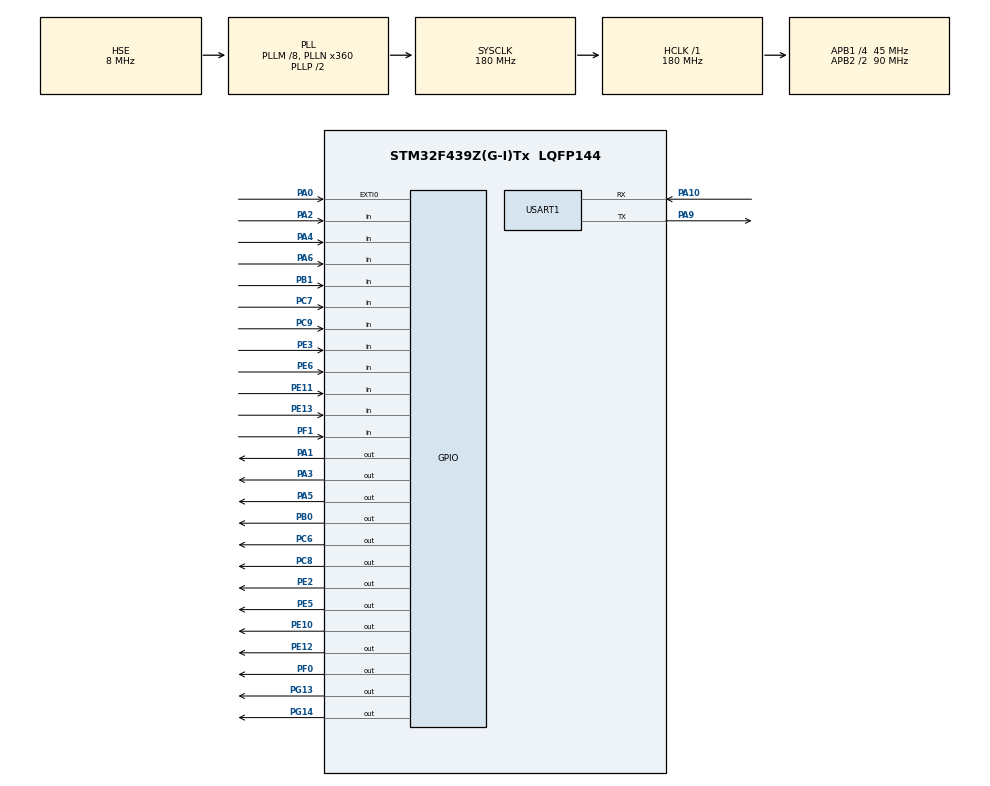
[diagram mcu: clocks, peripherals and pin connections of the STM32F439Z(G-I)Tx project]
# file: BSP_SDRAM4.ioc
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FREERTOS.Tasks01=defaultTask,40,128,StartDefaultTask,Default,NULL,Dynamic,NULL,NULL;myTask02,8,128,StartTask02,Default,NULL,Dynamic,NULL,NULL;myTask03,41,128,StartTask03,Default,NULL,Dynamic,NULL,NULL
FREERTOS.configUSE_NEWLIB_REENTRANT=1
Mcu.Family=STM32F4
Mcu.Name=STM32F439Z(G-I)Tx
Mcu.Package=LQFP144
NVIC.EXTI0_IRQn=true\:5\:0\:false\:false\:true\:true\:true\:true
NVIC.PriorityGroup=NVIC_PRIORITYGROUP_4
NVIC.TIM2_IRQn=true\:5\:0\:false\:false\:true\:true\:true\:true
NVIC.TIM3_IRQn=true\:5\:0\:false\:false\:true\:true\:true\:true
NVIC.TIM6_DAC_IRQn=true\:15\:0\:false\:false\:true\:false\:false\:true
NVIC.TimeBase=TIM6_DAC_IRQn
NVIC.TimeBaseIP=TIM6
PA0/WKUP.Signal=GPXTI0
PA1.Signal=GPIO_Output
PA10.Mode=Asynchronous
PA10.Signal=USART1_RX
PA2.Signal=GPIO_Input
PA3.Signal=GPIO_Output
PA4.Signal=GPIO_Input
PA5.Signal=GPIO_Output
PA6.Signal=GPIO_Input
PA9.Mode=Asynchronous
PA9.Signal=USART1_TX
PB0.Signal=GPIO_Output
PB1.Signal=GPIO_Input
PC6.Signal=GPIO_Output
PC7.Signal=GPIO_Input
PC8.Signal=GPIO_Output
PC9.Signal=GPIO_Input
PE10.Signal=GPIO_Output
PE11.Signal=GPIO_Input
PE12.Signal=GPIO_Output
PE13.Signal=GPIO_Input
PE2.Signal=GPIO_Output
PE3.Signal=GPIO_Input
PE5.Signal=GPIO_Output
PE6.Signal=GPIO_Input
PF0.Signal=GPIO_Output
PF1.Signal=GPIO_Input
PG13.Signal=GPIO_Output
PG14.Signal=GPIO_Output
PH0/OSC_IN.Mode=HSE-External-Oscillator
PH0/OSC_IN.Signal=RCC_OSC_IN
PH1/OSC_OUT.Mode=HSE-External-Oscillator
PH1/OSC_OUT.Signal=RCC_OSC_OUT
ProjectManager.HeapSize=0x200
ProjectManager.StackSize=0x400
ProjectManager.TargetToolchain=STM32CubeIDE
RCC.48MHZClocksFreq_Value=90000000
RCC.AHBFreq_Value=180000000
RCC.APB1CLKDivider=RCC_HCLK_DIV4
RCC.APB1Freq_Value=45000000
RCC.APB1TimFreq_Value=90000000
RCC.APB2CLKDivider=RCC_HCLK_DIV2
RCC.APB2Freq_Value=90000000
RCC.APB2TimFreq_Value=180000000
RCC.CortexFreq_Value=180000000
RCC.HCLKFreq_Value=180000000
RCC.HSE_VALUE=8000000
RCC.HSI_VALUE=16000000
RCC.LSE_VALUE=32768
RCC.PLLM=8
RCC.PLLN=360
RCC.PLLSourceVirtual=RCC_PLLSOURCE_HSE
RCC.SYSCLKFreq_VALUE=180000000
RCC.SYSCLKSource=RCC_SYSCLKSOURCE_PLLCLK
RCC.VCOOutputFreq_Value=360000000
TIM2.Period=4294967295
TIM2.Prescaler=65535
TIM3.Period=50000
TIM3.Prescaler=18000-1
USART1.VirtualMode=VM_ASYNC
VP_FREERTOS_VS_CMSIS_V2.Mode=CMSIS_V2
VP_SYS_VS_tim6.Mode=TIM6
VP_TIM2_VS_ClockSourceINT.Mode=Internal
VP_TIM3_VS_ClockSourceINT.Mode=Internal
board=custom

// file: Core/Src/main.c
/* USER CODE BEGIN Header */
/**
  ******************************************************************************
  * @file           : main.c
  * @brief          : Main program body
  ******************************************************************************
  * @attention
  *
  * Copyright (c) 2023 STMicroelectronics.
  * All rights reserved.
  *
  * This software is licensed under terms that can be found in the LICENSE file
  * in the root directory of this software component.
  * If no LICENSE file comes with this software, it is provided AS-IS.
  *
  ******************************************************************************
  */
/* USER CODE END Header */
#include "main.h"
#include "cmsis_os.h"

/* USER CODE BEGIN Includes */
#include "stm32f429i_discovery_lcd.h"
#include "dwt_stm32_delay.h"
#include "stdarg.h" // va_lis printf bu kÃ¼tÃ¼phanede bulunuyor.
#include "stdio.h"
#include "string.h"
#include "stdlib.h"
#include <math.h>
#include "stm32f4xx_hal.h"

/* USER CODE END Includes */

TIM_HandleTypeDef htim2;
TIM_HandleTypeDef htim3;

UART_HandleTypeDef huart1;

/* Definitions for defaultTask */
osThreadId_t defaultTaskHandle;
const osThreadAttr_t defaultTask_attributes = {
  .name = "defaultTask",
  .stack_size = 128 * 4,
  .priority = (osPriority_t) osPriorityHigh,
};
/* Definitions for myTask02 */
osThreadId_t myTask02Handle;
const osThreadAttr_t myTask02_attributes = {
  .name = "myTask02",
  .stack_size = 128 * 4,
  .priority = (osPriority_t) osPriorityLow,
};
/* Definitions for myTask03 */
osThreadId_t myTask03Handle;
const osThreadAttr_t myTask03_attributes = {
  .name = "myTask03",
  .stack_size = 128 * 4,
  .priority = (osPriority_t) osPriorityHigh1,
};
/* USER CODE BEGIN PV */
volatile uint32_t value;
uint32_t time;
uint16_t distance;
char str[15];

char strtime[15];
uint16_t time_seconds;
float TIMx_clock_frequency =  (double) 90000000 / 65535;
uint32_t flash_address =  0x080E0000;
int count_global = 0;
int count = 0;

osSemaphoreId_t myTask02SemaphoreHandle;
/* USER CODE END PV */

void SystemClock_Config(void);
static void MX_GPIO_Init(void);
static void MX_USART1_UART_Init(void);
static void MX_TIM2_Init(void);
static void MX_TIM3_Init(void);
void StartDefaultTask(void *argument);
void StartTask02(void *argument);
void StartTask03(void *argument);

/* USER CODE BEGIN 0 */

void printMessage(char *format, ...)
{
	char comingMessage[100];

	va_list vaList;
	va_start(vaList, format);
	vsprintf(comingMessage, format, vaList);
	HAL_UART_Transmit(&huart1, (uint8_t*)comingMessage, strlen(comingMessage), HAL_MAX_DELAY);
	va_end(vaList);
}

uint32_t Read_HCSR04()
{
	uint32_t local_time=0;

	HAL_GPIO_WritePin(GPIOC, GPIO_PIN_8, GPIO_PIN_SET);

	DWT_Delay_us(10);

	HAL_GPIO_WritePin(GPIOC, GPIO_PIN_8, GPIO_PIN_RESET);

	HAL_TIM_Base_Start_IT(&htim2);
	HAL_TIM_Base_Start_IT(&htim3);

		while (!(HAL_GPIO_ReadPin(GPIOE, GPIO_PIN_3))){}

		while(HAL_GPIO_ReadPin(GPIOE, GPIO_PIN_3))				// echo pinden deger gelirse
		{
			local_time++;										// increment local time
			DWT_Delay_us(1);									// every 1 us

		}

		return local_time;
}

void HAL_TIM_PeriodElapsedCallback(TIM_HandleTypeDef *htim){

	if (htim == &htim3){
		simulateButtonPress();
	}

	if (htim->Instance == TIM6) {
		    HAL_IncTick();
		  }

}

void simulateButtonPress(void)
{
    // Generate a software interrupt on the EXTI line
    EXTI->SWIER |= EXTI_SWIER_SWIER0;
}

void HAL_GPIO_EXTI_Callback(uint16_t GPIO_Pin) {
	  static int adddress =  0x080E0000;
	  char  stime [30] = "Current Time: ";
	  char err_time [30] = "Error Time: ";
		if (GPIO_Pin == GPIO_PIN_0 && (HAL_GPIO_ReadPin(GPIOE, GPIO_PIN_3)) ){

			__HAL_FLASH_CLEAR_FLAG(FLASH_FLAG_EOP | FLASH_FLAG_OPERR | FLASH_FLAG_WRPERR | FLASH_FLAG_PGAERR | FLASH_FLAG_PGPERR | FLASH_FLAG_PGSERR);

			BSP_LCD_DisplayStringAt(245, 185, (uint8_t *)"Echo pin is opened!", CENTER_MODE);
			__HAL_TIM_SetCounter(&htim3, 0 );
			HAL_TIM_Base_Stop_IT(&htim3);

			time_seconds = __HAL_TIM_GET_COUNTER(&htim2)/ TIMx_clock_frequency ;

				itoa(time_seconds, strtime, 10);
				strcat(stime,strtime);
				BSP_LCD_DisplayStringAt(245, 210, (uint8_t *)stime, CENTER_MODE);

				while(*(uint32_t*)flash_address != 0xFFFFFFFF) {
							flash_address += 4;

						}

				if (*(uint32_t*)flash_address == 0xFFFFFFFF) {
					count++;
				}

				HAL_FLASH_Unlock(); // flash kilidi açıldı

				HAL_FLASH_Program(FLASH_TYPEPROGRAM_WORD, flash_address, time_seconds);
							flash_address +=4;
							HAL_FLASH_Lock();
							count_global++;

				if (count == 1) {
					itoa(*(uint32_t*)(flash_address-sizeof(uint32_t)), strtime, 10);
					strcat(err_time,strtime);
					BSP_LCD_ClearStringLine(20); // Clear the line where the distance value is displayed
					BSP_LCD_DisplayStringAt(245, 235, (uint8_t *)err_time, CENTER_MODE);

				}
				else if (count == 2) {
					itoa(*(uint32_t*)(flash_address-sizeof(uint32_t)), strtime, 10);
					strcat(err_time,strtime);
					BSP_LCD_ClearStringLine(20); // Clear the line where the distance value is displayed
					BSP_LCD_DisplayStringAt(245, 260, (uint8_t *)err_time, CENTER_MODE);

				}

				else if (count == 3) {
					itoa(*(uint32_t*)(flash_address-sizeof(uint32_t)), strtime, 10);
					strcat(err_time,strtime);
					BSP_LCD_ClearStringLine(20); // Clear the line where the distance value is displayed
					BSP_LCD_DisplayStringAt(245, 285, (uint8_t *)err_time, CENTER_MODE);
					count= 0;
								}

				while (1) {

					if ((HAL_GPIO_ReadPin(GPIOE, GPIO_PIN_3))) {
				HAL_GPIO_WritePin(GPIOG, GPIO_PIN_14, GPIO_PIN_SET);
				HAL_Delay(100);
				HAL_GPIO_WritePin(GPIOG, GPIO_PIN_14, GPIO_PIN_RESET);
				HAL_Delay(100);

				}
					else{ break;}
				}

		}

		}

void drawTicks(uint16_t x , uint16_t y, uint16_t radius){
	int tickLength = 10;
	int loop_angle = 180;
	int count = 9;
	int angleStep = 1;
	int angle = 0;
	char str[3];

	 for (loop_angle; loop_angle <= 360; loop_angle += angleStep)
	    {
		 float radians = loop_angle * 3.14159265f / 180.0f;
		 uint16_t xPos = x + radius * cosf(radians);
		 uint16_t yPos = y + radius * sinf(radians);

	if (loop_angle / 20 == count) {
		 BSP_LCD_DrawLine(xPos, yPos, xPos + tickLength*cosf(radians), yPos + tickLength*sinf(radians));

		 count++;
		 itoa(angle, str, 10);
		 BSP_LCD_SetFont(&Font12);

		 // Calculate the coordinates for displaying the number
		 int strWidth = strlen(str) * BSP_LCD_GetFont()->Width;  // Calculate the width of the string
		 int strHeight = BSP_LCD_GetFont()->Height;  // Get the height of the font
		 int textX = xPos - strWidth / 2;  // Calculate the X-coordinate for centering the text
		 int textY = yPos - strHeight / 2;  // Calculate the Y-coordinate for centering the text

		      if (count >= 15) {
		    	  BSP_LCD_DisplayStringAt(textX - 10, textY+10, (uint8_t *)str, LEFT_MODE);
		    	  		             angle += 20;
		      }

		      else if (count == 12) {
		    	  BSP_LCD_DisplayStringAt(textX + 5, textY+15, (uint8_t *)str, LEFT_MODE);
		    	  		    	  		 angle += 20;
		      }

		      else if (count == 13) {
		     		    	  BSP_LCD_DisplayStringAt(textX , textY+15, (uint8_t *)str, LEFT_MODE);
		     		    	  		    	  		 angle += 20;
		      }

		      else if (count == 14) {
		      		     		    	  BSP_LCD_DisplayStringAt(textX , textY+15, (uint8_t *)str, LEFT_MODE);
		      		     		    	  		    	  		 angle += 20;
		     }

		      else
		    	  BSP_LCD_DisplayStringAt(textX + 10, textY+10, (uint8_t *)str, LEFT_MODE);
		    	  		    	  		             angle += 20;

	}

}
}

void drawArc(uint16_t x , uint16_t y, uint16_t radius, uint16_t startAngle, uint16_t endAngle)
{

    float angleStep = 0.1f; // Adjust this value for the desired angle resolution

    for (float angle = startAngle; angle <= endAngle; angle += angleStep)
    {

        float radians = angle * 3.14159265f / 180.0f;
        uint16_t xPos = x + radius * cosf(radians);
        uint16_t yPos = y + radius * sinf(radians);
        BSP_LCD_DrawPixel(xPos, yPos, LCD_COLOR_RED);

        // Use HAL function or direct register manipulation to set the pixel at (xPos, yPos)
        // Example: BSP_LCD_DrawPixel(xPos, yPos, LCD_COLOR_RED);
        // Draw a tick mark at this angle

    }
}

double* tick_to_needle(uint16_t x, uint16_t y, uint16_t radius, uint16_t distance) {
	double a = 0.9;
	double angle = 180;
	int count = 0;
	double b = 0.53;

	for (angle ; angle <= 216 ; angle += a) {
		 float radians = angle * 3.14159265f / 180.0f;
		 uint16_t xPos = x + radius * cosf(radians);
		 uint16_t yPos = y + radius * sinf(radians);
		if (count == distance) {
			double* ptr = (double*)malloc(3*sizeof(double));
			ptr[0] = (double)xPos;
			ptr[1] = (double)yPos;
			ptr[2] = (double)angle;
			return ptr;
		}
		count++;
	}

		for (angle ; angle <= 360 ; angle += b) {

				float radians = angle * 3.14159265f / 180.0f;
				uint16_t xPos = x + radius * cosf(radians);
				uint16_t yPos = y + radius * sinf(radians);
				if (count == distance) {
					double* ptr = (double*)malloc(2*sizeof(double));
					ptr[0] = (double)xPos;
					ptr[1] = (double)yPos;
					return ptr;
				}
				count++;

		}

}

void drawFilledCircle(uint16_t x, uint16_t y, uint16_t radius, uint32_t color) {
    BSP_LCD_SetTextColor(color);
    BSP_LCD_FillCircle(x, y, radius);
}

void drawNeedle(uint16_t x, uint16_t y, uint16_t radius, uint16_t angle)
{
    // Calculate the angle in radians
	  double* ptr = tick_to_needle(x,  y, radius, distance);

    float radians = angle * 3.14159265f / 180.0f;

    // Calculate the coordinates for the needle tip

    drawFilledCircle(115, 120, 68, LCD_COLOR_BLUE);

    // Draw the new needle line

    BSP_LCD_SetTextColor(LCD_COLOR_WHITE);
    BSP_LCD_DrawLine(x, y, ptr[0], ptr[1]);
    drawFilledCircle(115, 120, 6, LCD_COLOR_RED);
    BSP_LCD_SetTextColor(LCD_COLOR_WHITE);

    if (distance>320) {
           	BSP_LCD_Clear(LCD_COLOR_BLUE);
            drawArc_with_Lines(115, 120, 100, 180, 360);
            drawArc(115, 119, 100, 180, 360);
            drawArc(115, 118, 100, 180, 360);
            drawArc(115, 117, 100, 180, 360);
            drawArc(115, 116, 100, 180, 360);
            drawArc(115, 115, 100, 180, 360);
            drawArc(115, 114, 100, 180, 360);
            drawArc(115, 113, 100, 180, 360);
            drawArc(115, 112, 100, 180, 360);
    	}

//    // Redraw the background color in the area covered by the needle
//    uint16_t backgroundRadius = radius - 21; // Adjust the radius to clear the area around the needle
//    BSP_LCD_SetTextColor(LCD_COLOR_BLUE);
//    BSP_LCD_FillCircle(x, y, backgroundRadius);
//
    free(ptr);
}

void drawArc_with_Lines(uint16_t x , uint16_t y, uint16_t radius, uint16_t startAngle, uint16_t endAngle)
{

    float angleStep = 0.1f; // Adjust this value for the desired angle resolution

    for (float angle = startAngle; angle <= endAngle; angle += angleStep)
    {

        float radians = angle * 3.14159265f / 180.0f;
        uint16_t xPos = x + radius * cosf(radians);
        uint16_t yPos = y + radius * sinf(radians);
        BSP_LCD_DrawPixel(xPos, yPos, LCD_COLOR_RED);

        // Use HAL function or direct register manipulation to set the pixel at (xPos, yPos)
        // Example: BSP_LCD_DrawPixel(xPos, yPos, LCD_COLOR_RED);
        // Draw a tick mark at this angle

    }
    drawTicks(x,y,radius);
//    drawNeedle(x, y, radius);

}

/* USER CODE END 0 */

int main(void)
{

  /* MCU Configuration--------------------------------------------------------*/

  /* Reset of all peripherals, Initializes the Flash interface and the Systick. */
  HAL_Init();

  /* Configure the system clock */
  SystemClock_Config();

  /* Initialize all configured peripherals */
  MX_GPIO_Init();
  MX_USART1_UART_Init();
  MX_TIM2_Init();
  MX_TIM3_Init();
  /* USER CODE BEGIN 2 */
  DWT_Delay_Init();
  HAL_FLASH_Unlock(); // flash kilidi açıldı
  static uint32_t SectorError = 0;
  FLASH_EraseInitTypeDef eraseInitStruct;
  eraseInitStruct.TypeErase = FLASH_TYPEERASE_SECTORS; // Erase a sector
  eraseInitStruct.Sector = FLASH_SECTOR_7; // Erase Sector 7 (you can change this to the desired sector)
  eraseInitStruct.NbSectors = 1; // Erase only one sector
  eraseInitStruct.VoltageRange = FLASH_VOLTAGE_RANGE_3; // Voltage range 2.7V to 3.6V

//  HAL_FLASHEx_Erase(&eraseInitStruct,&SectorError);

HAL_FLASH_Lock(); // flash kilidi açıldı

  //write text

  myTask02SemaphoreHandle = osSemaphoreNew(1, 0, NULL);
  /* USER CODE END 2 */

  /* Init scheduler */
  osKernelInitialize();

  /* Create the thread(s) */
  /* creation of defaultTask */
  defaultTaskHandle = osThreadNew(StartDefaultTask, NULL, &defaultTask_attributes);

  /* creation of myTask02 */
  myTask02Handle = osThreadNew(StartTask02, NULL, &myTask02_attributes);

  /* creation of myTask03 */
  myTask03Handle = osThreadNew(StartTask03, NULL, &myTask03_attributes);

  /* Start scheduler */
  osKernelStart();

  /* We should never get here as control is now taken by the scheduler */
  /* Infinite loop */
  while (1)
  {

    /* USER CODE BEGIN 3 */

	 	  //BSP_LCD_DisplayStringAtLine(2," Distance");
  }
  /* USER CODE END 3 */
}

void SystemClock_Config(void)
{
  RCC_OscInitTypeDef RCC_OscInitStruct = {0};
  RCC_ClkInitTypeDef RCC_ClkInitStruct = {0};

  /** Configure the main internal regulator output voltage
  */
  __HAL_RCC_PWR_CLK_ENABLE();
  __HAL_PWR_VOLTAGESCALING_CONFIG(PWR_REGULATOR_VOLTAGE_SCALE1);
  /** Initializes the RCC Oscillators according to the specified parameters
  * in the RCC_OscInitTypeDef structure.
  */
  RCC_OscInitStruct.OscillatorType = RCC_OSCILLATORTYPE_HSE;
  RCC_OscInitStruct.HSEState = RCC_HSE_ON;
  RCC_OscInitStruct.PLL.PLLState = RCC_PLL_ON;
  RCC_OscInitStruct.PLL.PLLSource = RCC_PLLSOURCE_HSE;
  RCC_OscInitStruct.PLL.PLLM = 8;
  RCC_OscInitStruct.PLL.PLLN = 360;
  RCC_OscInitStruct.PLL.PLLP = RCC_PLLP_DIV2;
  RCC_OscInitStruct.PLL.PLLQ = 4;
  if (HAL_RCC_OscConfig(&RCC_OscInitStruct) != HAL_OK)
  {
    Error_Handler();
  }
  /** Activate the Over-Drive mode
  */
  if (HAL_PWREx_EnableOverDrive() != HAL_OK)
  {
    Error_Handler();
  }
  /** Initializes the CPU, AHB and APB buses clocks
  */
  RCC_ClkInitStruct.ClockType = RCC_CLOCKTYPE_HCLK|RCC_CLOCKTYPE_SYSCLK
                              |RCC_CLOCKTYPE_PCLK1|RCC_CLOCKTYPE_PCLK2;
  RCC_ClkInitStruct.SYSCLKSource = RCC_SYSCLKSOURCE_PLLCLK;
  RCC_ClkInitStruct.AHBCLKDivider = RCC_SYSCLK_DIV1;
  RCC_ClkInitStruct.APB1CLKDivider = RCC_HCLK_DIV4;
  RCC_ClkInitStruct.APB2CLKDivider = RCC_HCLK_DIV2;

  if (HAL_RCC_ClockConfig(&RCC_ClkInitStruct, FLASH_LATENCY_5) != HAL_OK)
  {
    Error_Handler();
  }
}

static void MX_TIM2_Init(void)
{

  TIM_ClockConfigTypeDef sClockSourceConfig = {0};
  TIM_MasterConfigTypeDef sMasterConfig = {0};

  htim2.Instance = TIM2;
  htim2.Init.Prescaler = 65535;
  htim2.Init.CounterMode = TIM_COUNTERMODE_UP;
  htim2.Init.Period = 4294967295;
  htim2.Init.ClockDivision = TIM_CLOCKDIVISION_DIV1;
  htim2.Init.AutoReloadPreload = TIM_AUTORELOAD_PRELOAD_DISABLE;
  if (HAL_TIM_Base_Init(&htim2) != HAL_OK)
  {
    Error_Handler();
  }
  sClockSourceConfig.ClockSource = TIM_CLOCKSOURCE_INTERNAL;
  if (HAL_TIM_ConfigClockSource(&htim2, &sClockSourceConfig) != HAL_OK)
  {
    Error_Handler();
  }
  sMasterConfig.MasterOutputTrigger = TIM_TRGO_RESET;
  sMasterConfig.MasterSlaveMode = TIM_MASTERSLAVEMODE_DISABLE;
  if (HAL_TIMEx_MasterConfigSynchronization(&htim2, &sMasterConfig) != HAL_OK)
  {
    Error_Handler();
  }

}

static void MX_TIM3_Init(void)
{

  TIM_ClockConfigTypeDef sClockSourceConfig = {0};
  TIM_MasterConfigTypeDef sMasterConfig = {0};

  htim3.Instance = TIM3;
  htim3.Init.Prescaler = 18000-1;
  htim3.Init.CounterMode = TIM_COUNTERMODE_UP;
  htim3.Init.Period = 50000;
  htim3.Init.ClockDivision = TIM_CLOCKDIVISION_DIV1;
  htim3.Init.AutoReloadPreload = TIM_AUTORELOAD_PRELOAD_DISABLE;
  if (HAL_TIM_Base_Init(&htim3) != HAL_OK)
  {
    Error_Handler();
  }
  sClockSourceConfig.ClockSource = TIM_CLOCKSOURCE_INTERNAL;
  if (HAL_TIM_ConfigClockSource(&htim3, &sClockSourceConfig) != HAL_OK)
  {
    Error_Handler();
  }
  sMasterConfig.MasterOutputTrigger = TIM_TRGO_RESET;
  sMasterConfig.MasterSlaveMode = TIM_MASTERSLAVEMODE_DISABLE;
  if (HAL_TIMEx_MasterConfigSynchronization(&htim3, &sMasterConfig) != HAL_OK)
  {
    Error_Handler();
  }

}

static void MX_USART1_UART_Init(void)
{

  huart1.Instance = USART1;
  huart1.Init.BaudRate = 115200;
  huart1.Init.WordLength = UART_WORDLENGTH_8B;
  huart1.Init.StopBits = UART_STOPBITS_1;
  huart1.Init.Parity = UART_PARITY_NONE;
  huart1.Init.Mode = UART_MODE_TX_RX;
  huart1.Init.HwFlowCtl = UART_HWCONTROL_NONE;
  huart1.Init.OverSampling = UART_OVERSAMPLING_16;
  if (HAL_UART_Init(&huart1) != HAL_OK)
  {
    Error_Handler();
  }

}

static void MX_GPIO_Init(void)
{
  GPIO_InitTypeDef GPIO_InitStruct = {0};

  /* GPIO Ports Clock Enable */
  __HAL_RCC_GPIOE_CLK_ENABLE();
  __HAL_RCC_GPIOF_CLK_ENABLE();
  __HAL_RCC_GPIOH_CLK_ENABLE();
  __HAL_RCC_GPIOA_CLK_ENABLE();
  __HAL_RCC_GPIOB_CLK_ENABLE();
  __HAL_RCC_GPIOC_CLK_ENABLE();
  __HAL_RCC_GPIOG_CLK_ENABLE();

  /*Configure GPIO pin Output Level */
  HAL_GPIO_WritePin(GPIOE, GPIO_PIN_2|GPIO_PIN_5|GPIO_PIN_10|GPIO_PIN_12, GPIO_PIN_RESET);

  /*Configure GPIO pin Output Level */
  HAL_GPIO_WritePin(GPIOF, GPIO_PIN_0, GPIO_PIN_RESET);

  /*Configure GPIO pin Output Level */
  HAL_GPIO_WritePin(GPIOA, GPIO_PIN_1|GPIO_PIN_3|GPIO_PIN_5, GPIO_PIN_RESET);

  /*Configure GPIO pin Output Level */
  HAL_GPIO_WritePin(GPIOB, GPIO_PIN_0, GPIO_PIN_RESET);

  /*Configure GPIO pin Output Level */
  HAL_GPIO_WritePin(GPIOC, GPIO_PIN_6|GPIO_PIN_8, GPIO_PIN_RESET);

  /*Configure GPIO pin Output Level */
  HAL_GPIO_WritePin(GPIOG, GPIO_PIN_13|GPIO_PIN_14, GPIO_PIN_RESET);

  /*Configure GPIO pins : PE2 PE5 PE10 PE12 */
  GPIO_InitStruct.Pin = GPIO_PIN_2|GPIO_PIN_5|GPIO_PIN_10|GPIO_PIN_12;
  GPIO_InitStruct.Mode = GPIO_MODE_OUTPUT_PP;
  GPIO_InitStruct.Pull = GPIO_NOPULL;
  GPIO_InitStruct.Speed = GPIO_SPEED_FREQ_LOW;
  HAL_GPIO_Init(GPIOE, &GPIO_InitStruct);

  /*Configure GPIO pins : PE3 PE6 PE11 PE13 */
  GPIO_InitStruct.Pin = GPIO_PIN_3|GPIO_PIN_6|GPIO_PIN_11|GPIO_PIN_13;
  GPIO_InitStruct.Mode = GPIO_MODE_INPUT;
  GPIO_InitStruct.Pull = GPIO_NOPULL;
  HAL_GPIO_Init(GPIOE, &GPIO_InitStruct);

  /*Configure GPIO pin : PF0 */
  GPIO_InitStruct.Pin = GPIO_PIN_0;
  GPIO_InitStruct.Mode = GPIO_MODE_OUTPUT_PP;
  GPIO_InitStruct.Pull = GPIO_NOPULL;
  GPIO_InitStruct.Speed = GPIO_SPEED_FREQ_LOW;
  HAL_GPIO_Init(GPIOF, &GPIO_InitStruct);

  /*Configure GPIO pin : PF1 */
  GPIO_InitStruct.Pin = GPIO_PIN_1;
  GPIO_InitStruct.Mode = GPIO_MODE_INPUT;
  GPIO_InitStruct.Pull = GPIO_NOPULL;
  HAL_GPIO_Init(GPIOF, &GPIO_InitStruct);

  /*Configure GPIO pin : PA0 */
  GPIO_InitStruct.Pin = GPIO_PIN_0;
  GPIO_InitStruct.Mode = GPIO_MODE_IT_RISING;
  GPIO_InitStruct.Pull = GPIO_NOPULL;
  HAL_GPIO_Init(GPIOA, &GPIO_InitStruct);

  /*Configure GPIO pins : PA1 PA3 PA5 */
  GPIO_InitStruct.Pin = GPIO_PIN_1|GPIO_PIN_3|GPIO_PIN_5;
  GPIO_InitStruct.Mode = GPIO_MODE_OUTPUT_PP;
  GPIO_InitStruct.Pull = GPIO_NOPULL;
  GPIO_InitStruct.Speed = GPIO_SPEED_FREQ_LOW;
  HAL_GPIO_Init(GPIOA, &GPIO_InitStruct);

  /*Configure GPIO pins : PA2 PA4 PA6 */
  GPIO_InitStruct.Pin = GPIO_PIN_2|GPIO_PIN_4|GPIO_PIN_6;
  GPIO_InitStruct.Mode = GPIO_MODE_INPUT;
  GPIO_InitStruct.Pull = GPIO_NOPULL;
  HAL_GPIO_Init(GPIOA, &GPIO_InitStruct);

  /*Configure GPIO pin : PB0 */
  GPIO_InitStruct.Pin = GPIO_PIN_0;
  GPIO_InitStruct.Mode = GPIO_MODE_OUTPUT_PP;
  GPIO_InitStruct.Pull = GPIO_NOPULL;
  GPIO_InitStruct.Speed = GPIO_SPEED_FREQ_LOW;
  HAL_GPIO_Init(GPIOB, &GPIO_InitStruct);

  /*Configure GPIO pin : PB1 */
  GPIO_InitStruct.Pin = GPIO_PIN_1;
  GPIO_InitStruct.Mode = GPIO_MODE_INPUT;
  GPIO_InitStruct.Pull = GPIO_NOPULL;
  HAL_GPIO_Init(GPIOB, &GPIO_InitStruct);

  /*Configure GPIO pins : PC6 PC8 */
  GPIO_InitStruct.Pin = GPIO_PIN_6|GPIO_PIN_8;
  GPIO_InitStruct.Mode = GPIO_MODE_OUTPUT_PP;
  GPIO_InitStruct.Pull = GPIO_NOPULL;
  GPIO_InitStruct.Speed = GPIO_SPEED_FREQ_LOW;
  HAL_GPIO_Init(GPIOC, &GPIO_InitStruct);

  /*Configure GPIO pins : PC7 PC9 */
  GPIO_InitStruct.Pin = GPIO_PIN_7|GPIO_PIN_9;
  GPIO_InitStruct.Mode = GPIO_MODE_INPUT;
  GPIO_InitStruct.Pull = GPIO_NOPULL;
  HAL_GPIO_Init(GPIOC, &GPIO_InitStruct);

  /*Configure GPIO pins : PG13 PG14 */
  GPIO_InitStruct.Pin = GPIO_PIN_13|GPIO_PIN_14;
  GPIO_InitStruct.Mode = GPIO_MODE_OUTPUT_PP;
  GPIO_InitStruct.Pull = GPIO_NOPULL;
  GPIO_InitStruct.Speed = GPIO_SPEED_FREQ_LOW;
  HAL_GPIO_Init(GPIOG, &GPIO_InitStruct);

  /* EXTI interrupt init*/
  HAL_NVIC_SetPriority(EXTI0_IRQn, 5, 0);
  HAL_NVIC_EnableIRQ(EXTI0_IRQn);

}

void StartDefaultTask(void *argument)
{
  /* USER CODE BEGIN 5 */

  /* Infinite loop */
	 for(;;)
	     {

	   	  time = Read_HCSR04();			// get the high time
	   	  distance =  (time / 58);	// user the formula to get the distance
	   	  uint16_t* ptr = &distance;
	   	  printMessage(" Distance: %d \n", distance);
	   	 printMessage(" Distance: %d \n", ptr);

	   	 	 	  if(distance >= 20)
	   	 	 	  {
	   	 	 		  HAL_GPIO_WritePin(GPIOG,GPIO_PIN_13,1);
	   	 	 	  } else
	   	 	 		  HAL_GPIO_WritePin(GPIOG,GPIO_PIN_13,0);
	     osDelay(100);
	     }

  /* USER CODE END 5 */
}

void StartTask02(void *argument)
{
 	for(;;)
	  {
		  		}
		  				 osDelay(1);
}

void StartTask03(void *argument)
{
  /* USER CODE BEGIN StartTask03 */
  /* Infinite loop */

	  BSP_LCD_Init();
		    BSP_LCD_LayerDefaultInit(1, SDRAM_DEVICE_ADDR);
		    BSP_LCD_SelectLayer(1);  // select on which layer we write
		    BSP_LCD_DisplayOn();     // turn on LCD
		    BSP_LCD_Clear(LCD_COLOR_BLUE);         // clear the LCD on blue color
		    BSP_LCD_SetBackColor(LCD_COLOR_BLUE);  // set text background color
		    BSP_LCD_SetTextColor(LCD_COLOR_WHITE); // set text color

		    drawArc_with_Lines(115, 120, 100, 180, 360);
		    drawArc(115, 119, 100, 180, 360);
		    drawArc(115, 118, 100, 180, 360);
		    drawArc(115, 117, 100, 180, 360);
		    drawArc(115, 116, 100, 180, 360);
		    drawArc(115, 115, 100, 180, 360);
		    drawArc(115, 114, 100, 180, 360);
		    drawArc(115, 113, 100, 180, 360);
		    drawArc(115, 112, 100, 180, 360);

		    int textHeight = BSP_LCD_GetFont()->Height;  // Get the height of the font
		    int lineNumber = (BSP_LCD_GetYSize() - textHeight) / textHeight;

		    /* Infinite loop */
		    for (;;)
		    {
		    	  char err_time [30] = "Error Time: ";
		    	  char err_time1 [30] = "Error Time: ";
		    	  char err_time2 [30] = "Error Time: ";
		        lineNumber = (BSP_LCD_GetYSize() - textHeight) / textHeight;  // Calculate the line number

		        BSP_LCD_ClearStringLine(14); // Clear the line where the distance value is displayed
		        BSP_LCD_ClearStringLine(15); // Clear the line where the distance value is displayed
		        BSP_LCD_ClearStringLine(13); // Clear the line where the distance value is displayed
		        BSP_LCD_ClearStringLine(12); // Clear the line where the distance value is displayed
		        BSP_LCD_ClearStringLine(16); // Clear the line where the distance value is displayed
		        BSP_LCD_ClearStringLine(17); // Clear the line where the distance value is displayed
		        BSP_LCD_ClearStringLine(11.5); // Clear the line where the distance value is displayed
		        BSP_LCD_SetFont(&Font12);
		        BSP_LCD_DisplayStringAt(87, 124, (uint8_t *)"320", CENTER_MODE);
		        BSP_LCD_SetFont(&Font16);

		        // BSP_LCD_Clear(LCD_COLOR_WHITE);
		        itoa(distance, str, 10);

		        if (distance>320) {
		        	BSP_LCD_Clear(LCD_COLOR_BLUE);
		        	   drawArc_with_Lines(115, 120, 100, 180, 360);
		        	   drawArc(115, 119, 100, 180, 360);
		        	   drawArc(115, 118, 100, 180, 360);
		        	   drawArc(115, 117, 100, 180, 360);
		        	   drawArc(115, 116, 100, 180, 360);
		        	   drawArc(115, 115, 100, 180, 360);
		        	   drawArc(115, 114, 100, 180, 360);
		        	   drawArc(115, 113, 100, 180, 360);
		        	   drawArc(115, 112, 100, 180, 360);
		        }
		        BSP_LCD_SetFont(&Font16);
		        BSP_LCD_DisplayStringAt(245, 190, (uint8_t *)str, CENTER_MODE);

		        // Calculate the angle for the needle based on the distance
		        uint16_t needleAngle = 180 + (distance * 1.8f); // Assuming distance range is 0-100 and needle range is 180-360 degrees

		        // Draw the needle with the updated angle
		        drawNeedle(115, 120, 63, needleAngle);

		        if (count == 1) {
		        	itoa(*(uint32_t*)(flash_address-sizeof(uint32_t)), strtime, 10);
		        	strcat(err_time,strtime);
		        	BSP_LCD_ClearStringLine(20); // Clear the line where the distance value is displayed
		        	BSP_LCD_DisplayStringAt(245, 235, (uint8_t *)err_time, CENTER_MODE);

		        			}
		       else if (count == 2) {
		        itoa(*(uint32_t*)(flash_address-2*sizeof(uint32_t)), strtime, 10);
		       strcat(err_time,strtime);
		        BSP_LCD_ClearStringLine(20); // Clear the line where the distance value is displayed
		        	BSP_LCD_DisplayStringAt(245, 235, (uint8_t *)err_time, CENTER_MODE);

		        	itoa(*(uint32_t*)(flash_address-sizeof(uint32_t)), strtime, 10);
		        	strcat(err_time1,strtime);
		        	BSP_LCD_ClearStringLine(22); // Clear the line where the distance value is displayed
		        	BSP_LCD_ClearStringLine(21); // Clear the line where the distance value is displayed
		        	BSP_LCD_DisplayStringAt(245, 260, (uint8_t *)err_time1, CENTER_MODE);

		        			}

		       else if (count == 3) {
		        	itoa(*(uint32_t*)(flash_address-3*sizeof(uint32_t)), strtime, 10);
		        	strcat(err_time,strtime);
		        	BSP_LCD_ClearStringLine(20); // Clear the line where the distance value is displayed
		      	BSP_LCD_DisplayStringAt(245, 235, (uint8_t *)err_time, CENTER_MODE);

		      itoa(*(uint32_t*)(flash_address-2*sizeof(uint32_t)), strtime, 10);
		      strcat(err_time1,strtime);
		     BSP_LCD_ClearStringLine(22); // Clear the line where the distance value is displayed
		        		 BSP_LCD_ClearStringLine(21); // Clear the line where the distance value is displayed
		           BSP_LCD_DisplayStringAt(245, 260, (uint8_t *)err_time1, CENTER_MODE);
		     itoa(*(uint32_t*)(flash_address-sizeof(uint32_t)), strtime, 10);
		     strcat(err_time2,strtime);
		        BSP_LCD_ClearStringLine(20); // Clear the line where the distance value is displayed
		        BSP_LCD_DisplayStringAt(245, 285, (uint8_t *)err_time2, CENTER_MODE);
		        count= 0;
		        											}

		        osDelay(100);
		    }

  }
  /* USER CODE END StartTask03 */

void Error_Handler(void)
{
  __disable_irq();
  while (1)
  {
  }
}
